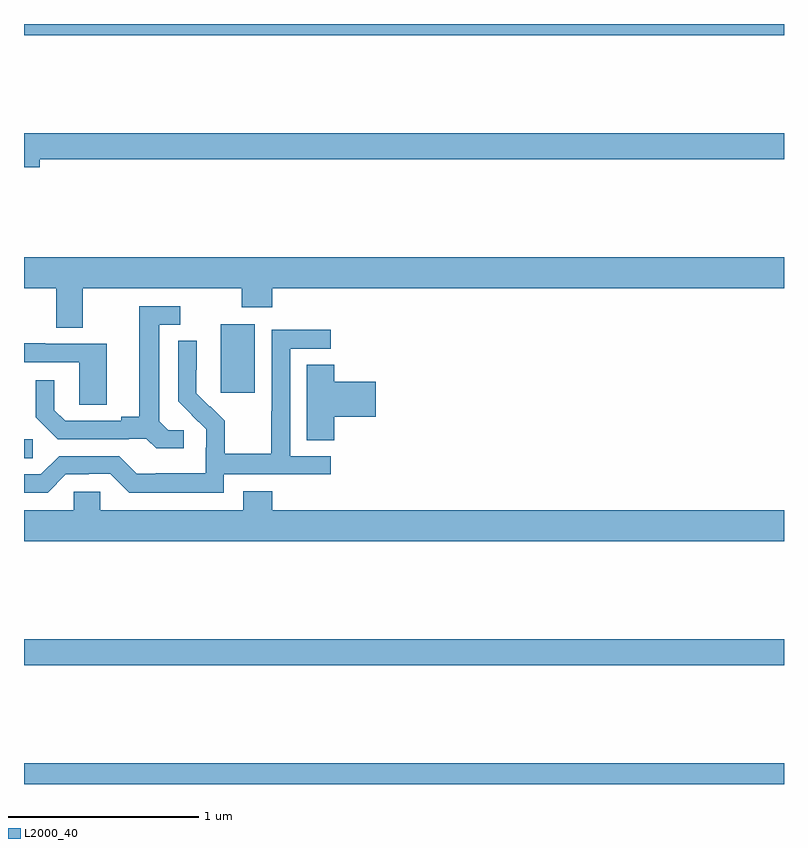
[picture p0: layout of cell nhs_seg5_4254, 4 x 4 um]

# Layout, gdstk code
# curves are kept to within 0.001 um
import gdstk
lib = gdstk.Library(unit=1e-6, precision=1e-09)
def R(c, l, rs):  # rectangles x0, y0, x1, y1
    for r in rs: c.add(gdstk.rectangle(r[:2], r[2:], *l))
def P(c, l, *ps):  # polygons
    for p in ps: c.add(gdstk.Polygon(p, *l))
L2000_40 = (2000, 40)

nhs_seg5_4254 = lib.new_cell('nhs_seg5_4254')
R(nhs_seg5_4254, L2000_40, [(361,872.799,365,872.908), (361,873.424,365,873.56), (361,874.513,361.045,874.614), (362.036,874.857,362.215,875.218), (361,876.74,365,876.799)])
P(nhs_seg5_4254, L2000_40, [(361.084,876.088),(365,876.088),(365,876.224),(361,876.224),(361,876.046),(361.084,876.046)],
  [(361.309,875.408),(362.146,875.408),(362.146,875.309),(362.306,875.309),(362.306,875.408),(365,875.408),(365,875.572),(361,875.572),(361,875.408),(361.169,875.408),(361.169,875.2),(361.309,875.2)],
  [(361.84,874.662),(361.758,874.662),(361.711,874.709),(361.711,875.217),(361.822,875.217),(361.822,875.313),(361.607,875.313),(361.607,874.733),(361.511,874.733),(361.511,874.71),(361.216,874.71),(361.159,874.767),(361.159,874.924),(361.062,874.924),(361.062,874.73),(361.178,874.614),(361.55,874.614),(361.55,874.617),(361.644,874.617),(361.696,874.565),(361.84,874.565)],
  [(362.052,874.428),(362.614,874.428),(362.614,874.524),(362.4,874.524),(362.4,875.091),(362.614,875.091),(362.614,875.19),(362.304,875.19),(362.304,874.76),(362.302,874.76),(362.302,874.537),(362.057,874.537),(362.057,874.711),(361.98,874.788),(361.977,874.785),(361.907,874.856),(361.908,875.132),(361.812,875.132),(361.812,874.814),(361.958,874.666),(361.958,874.569),(361.956,874.569),(361.956,874.435),(361.693,874.435),(361.693,874.431),(361.593,874.431),(361.5,874.524),(361.185,874.524),(361.089,874.428),(361,874.428),(361,874.332),(361.125,874.332),(361.221,874.428),(361.34,874.428),(361.34,874.431),(361.455,874.431),(361.555,874.331),(362.052,874.331)],
  [(361.435,875.115),(361.111,875.115),(361.111,875.119),(361,875.119),(361,875.019),(361.29,875.019),(361.29,874.795),(361.435,874.795)],
  [(362.633,874.733),(362.851,874.733),(362.851,874.916),(362.633,874.916),(362.633,875.006),(362.489,875.006),(362.489,874.609),(362.633,874.609)],
  [(365,874.24),(362.306,874.24),(362.306,874.339),(362.153,874.339),(362.153,874.24),(361.401,874.24),(361.401,874.338),(361.263,874.338),(361.263,874.24),(361,874.24),(361,874.076),(365,874.076)])

lib.write_gds('nhs_seg5_4254.gds')
